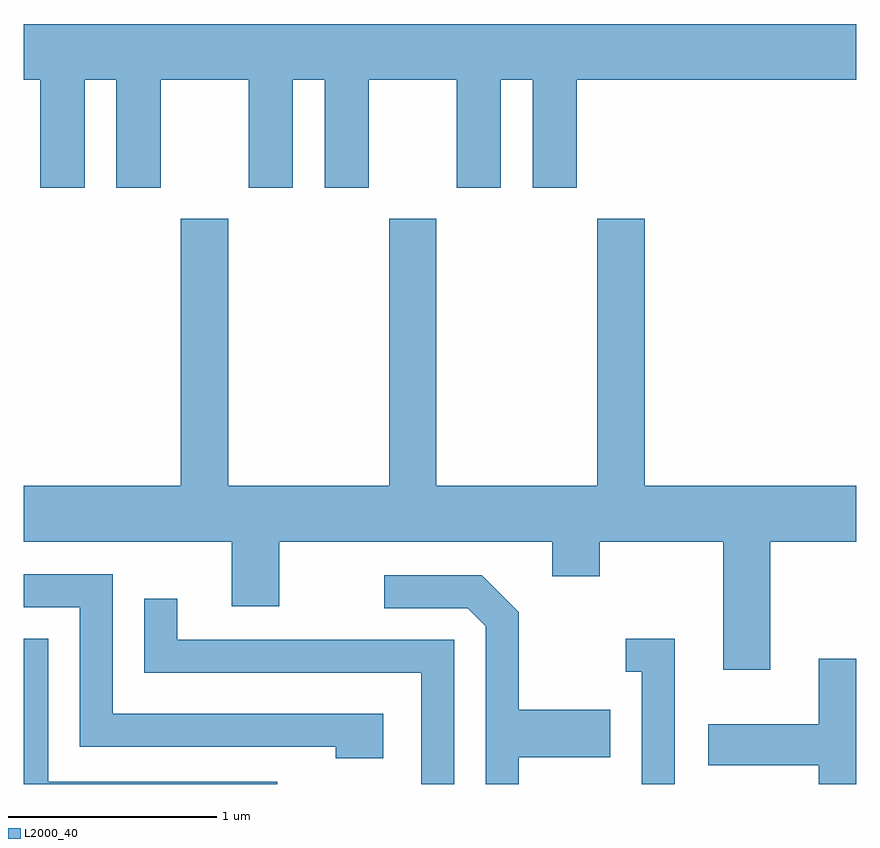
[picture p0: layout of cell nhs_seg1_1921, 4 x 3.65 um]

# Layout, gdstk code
import gdstk
lib = gdstk.Library(unit=1e-6, precision=1e-09)
def P(c, l, *ps):  # polygons
    for p in ps: c.add(gdstk.Polygon(p, *l))
L2000_40 = (2000, 40)

nhs_seg1_1921 = lib.new_cell('nhs_seg1_1921')
P(nhs_seg1_1921, L2000_40, [(243.904,935.096),(244.056,935.096),(244.056,934.576),(244.269,934.576),(244.269,935.096),(244.691,935.096),(244.691,934.576),(244.904,934.576),(244.904,935.096),(245.056,935.096),(245.056,934.576),(245.269,934.576),(245.269,935.096),(245.691,935.096),(245.691,934.576),(245.904,934.576),(245.904,935.096),(246.056,935.096),(246.056,934.576),(246.269,934.576),(246.269,935.096),(247.611,935.096),(247.611,935.364),(243.611,935.364),(243.611,935.096),(243.691,935.096),(243.691,934.576),(243.904,934.576)],
  [(247.199,932.876),(247.611,932.876),(247.611,933.144),(246.594,933.144),(246.594,934.429),(246.366,934.429),(246.366,933.144),(245.594,933.144),(245.594,934.429),(245.366,934.429),(245.366,933.144),(244.594,933.144),(244.594,934.429),(244.366,934.429),(244.366,933.144),(243.611,933.144),(243.611,932.876),(244.611,932.876),(244.611,932.566),(244.839,932.566),(244.839,932.876),(246.151,932.876),(246.151,932.711),(246.379,932.711),(246.379,932.876),(246.971,932.876),(246.971,932.261),(247.199,932.261)],
  [(245.339,932.049),(244.039,932.049),(244.039,932.719),(243.611,932.719),(243.611,932.561),(243.881,932.561),(243.881,931.891),(245.111,931.891),(245.111,931.836),(245.339,931.836)],
  [(245.989,931.841),(246.429,931.841),(246.429,932.069),(245.989,932.069),(245.989,932.537),(245.812,932.714),(245.343,932.714),(245.343,932.556),(245.744,932.556),(245.831,932.469),(245.831,931.712),(245.989,931.712)],
  [(245.679,932.404),(244.349,932.404),(244.349,932.603),(244.191,932.603),(244.191,932.246),(245.521,932.246),(245.521,931.712),(245.679,931.712)],
  [(244.828,931.724),(243.729,931.724),(243.729,932.409),(243.611,932.409),(243.611,931.712),(244.828,931.712)],
  [(246.739,932.409),(246.503,932.409),(246.503,932.251),(246.581,932.251),(246.581,931.712),(246.739,931.712)],
  [(247.611,932.314),(247.431,932.314),(247.431,931.999),(246.901,931.999),(246.901,931.801),(247.431,931.801),(247.431,931.712),(247.611,931.712)])

lib.write_gds('nhs_seg1_1921.gds')
